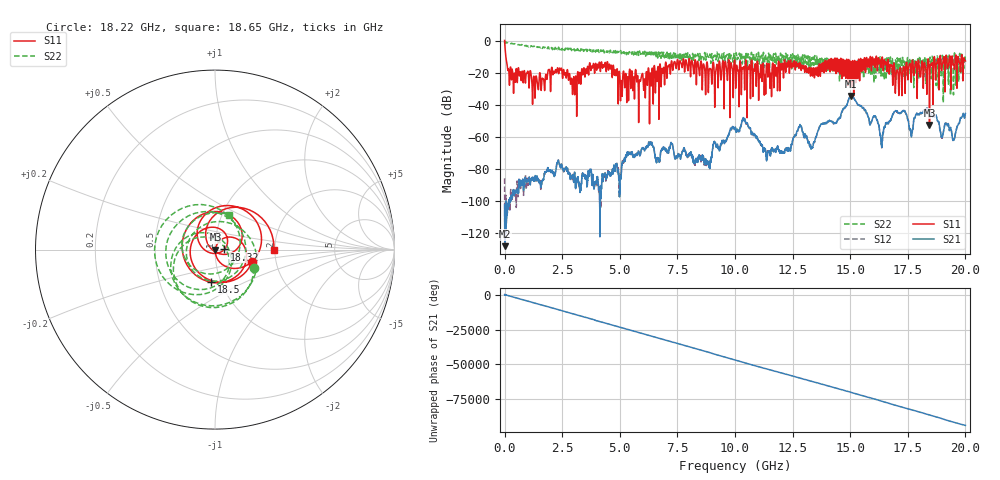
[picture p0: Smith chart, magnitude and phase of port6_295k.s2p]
! MS46122B
! 2250307/22442219
! 7/31/2025 8:37:30 AM
! C:\USERS\SPARKY\DOCUMENTS\VNA_DATA\JULY31_2025\295K\PORT6.S2P
! CHANNEL.1
! TR.MEASUREMENT
! RAW.DATA
# GHZ S RI R 50.0
! FREQ.GHZ  S11RE  S11IM  S21RE  S21IM  S12RE  S12IM  S22RE  S22IM
!; PortSelection: Port_12
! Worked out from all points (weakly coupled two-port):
!   10001 points, 1 MHz to 20 GHz, reference 50 ohm
!   highest |S21| = -34.18 dB at 15.05 GHz (marker M1); lowest = -128.0 dB at 9 MHz (marker M2)
!   lowest |S11| = -52.4 dB at 18.44 GHz (marker M3), VSWR 1.00, Z = 50.2 + j0.0125 ohm
!   |S11| at or under -10 dB: 57.06 MHz to 15.87 GHz (15.81 GHz wide, 199 % of centre); 16.15 GHz to 16.38 GHz (238.9 MHz wide, 1.47 % of centre); 16.39 GHz to 18.64 GHz (2.244 GHz wide, 12.8 % of centre) (the widest 3 of 14)
!   |S22| runs from -38.4 to 0.0 dB; largest |S21 - S12| = 0.0023
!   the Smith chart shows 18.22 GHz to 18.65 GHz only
!   S11 on the Smith chart (normalised r, x): 18.22 GHz: 1.50, -0.21; 18.32 GHz: 1.11, +0.00; 18.5 GHz: 0.90, -0.34; 18.65 GHz: 1.98, -0.01
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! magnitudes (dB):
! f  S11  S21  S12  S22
! 1 MHz  0.4  -102.2  -85.6  -0.1
! 9 MHz  -1.9  -128.0  -109.6  -0.1
! 299 MHz  -24.2  -97.3  -95.4  -1.4
! 1.255 GHz  -22.6  -86.4  -86.6  -3.3
! 3.335 GHz  -19.1  -88.8  -89.2  -5.4
! 6.329 GHz  -19.9  -63.0  -62.9  -8.5
! 6.669 GHz  -16.6  -72.9  -73.7  -7.4
! 8.847 GHz  -30.8  -75.6  -76.6  -9.7
! 10 GHz  -13.8  -54.3  -54.4  -14.5
! 11.44 GHz  -18.3  -69.5  -69.4  -8.5
! 12.81 GHz  -13.6  -52.6  -53.2  -11.3
! 13.33 GHz  -17.7  -66.6  -66.7  -12.4
! 15.05 GHz  -17.4  -34.2  -34.2  -22.7
! 16.35 GHz  -15.3  -63.9  -64.2  -15.0
! 16.67 GHz  -13.6  -51.1  -51.3  -10.4
! 18.22 GHz  -13.3  -44.1  -44.2  -12.4
! 18.32 GHz  -25.7  -42.0  -42.2  -11.8
! 18.44 GHz  -52.4  -44.9  -45.0  -12.2
! 18.5 GHz  -14.7  -45.7  -45.8  -19.3
! 18.65 GHz  -9.7  -47.3  -47.5  -13.6
! 19.49 GHz  -14.6  -61.4  -61.1  -14.6
! 20 GHz  -12.4  -45.2  -45.9  -14.1
